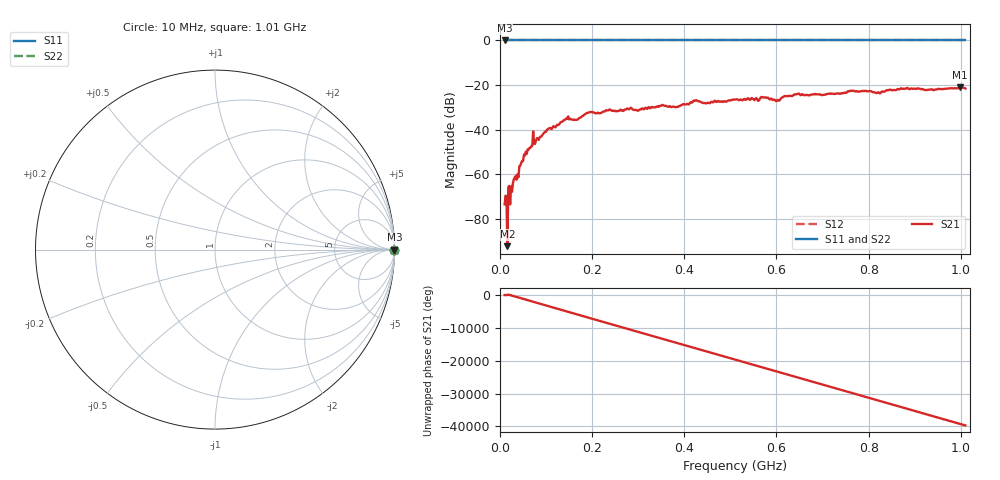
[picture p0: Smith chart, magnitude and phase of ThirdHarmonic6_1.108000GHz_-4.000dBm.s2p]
! 8/16/2025 10:30:11 AM
! C:\ANRITSUVNA\TEMP\TEMP.S2P
! CHANNEL.1
! TR.MEASUREMENT
! RAW.DATA
! RF.CORRECTION.OFF
! AVERAGING.OFF
! IF.BANDWIDTH: 5KHZ
! SWEEPTYPE:  FREQ.SWEEP(Linear)
! Reference Plane Port Info
! PORT:  PORT1  PORT2
! DISTANCE:  0  m  0  m
! TIME:  0  s  0  s
! PHASE.OFFSET:  0  deg.  0  deg.
! LOSS:  0  dB  0  dB
! REF.LOSS:  0  dB  0  dB
! REF.FREQ:  0  Hz  0  Hz
! Power Info
! POWER:  -20  dBm  -20  dBm
! EFF.POWER:  -20  dBm  -20  dBm
! SOURCE.ATTEN:  0  dB  0  dB
! TEST.ATTEN:  0  dB  0  dB
# GHZ S RI R 50.0
! FREQ.GHZ  S11RE  S11IM  S21RE  S21IM  S12RE  S12IM  S22RE  S22IM
!; PortSelection: Port_12
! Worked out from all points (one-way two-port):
!   501 points, 10 MHz to 1.01 GHz, reference 50 ohm
!   highest |S21| = -21.09 dB at 998 MHz (marker M1); lowest = -92.3 dB at 16 MHz (marker M2)
!   lowest |S11| = 0.0 dB at 10 MHz (marker M3)
!   |S11| at or under -10 dB: nowhere
!   |S22| runs from 0.0 to 0.0 dB; largest |S21 - S12| = 1.1
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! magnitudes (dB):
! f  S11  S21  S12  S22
! 10 MHz  0.0  -73.5  0.0  0.0
! 12 MHz  0.0  -69.6  0.0  0.0
! 16 MHz  0.0  -92.3  0.0  0.0
! 20 MHz  0.0  -65.2  0.0  0.0
! 28 MHz  0.0  -64.1  0.0  0.0
! 52 MHz  0.0  -51.2  0.0  0.0
! 76 MHz  0.0  -46.4  0.0  0.0
! 144 MHz  0.0  -35.0  0.0  0.0
! 178 MHz  0.0  -34.0  0.0  0.0
! 194 MHz  0.0  -32.3  0.0  0.0
! 344 MHz  0.0  -29.8  0.0  0.0
! 384 MHz  0.0  -29.8  0.0  0.0
! 424 MHz  0.0  -27.0  0.0  0.0
! 450 MHz  0.0  -28.0  0.0  0.0
! 510 MHz  0.0  -26.5  0.0  0.0
! 572 MHz  0.0  -25.6  0.0  0.0
! 602 MHz  0.0  -26.7  0.0  0.0
! 644 MHz  0.0  -24.1  0.0  0.0
! 678 MHz  0.0  -24.2  0.0  0.0
! 844 MHz  0.0  -22.2  0.0  0.0
! 998 MHz  0.0  -21.1  0.0  0.0
! 1.01 GHz  0.0  -21.6  0.0  0.0
